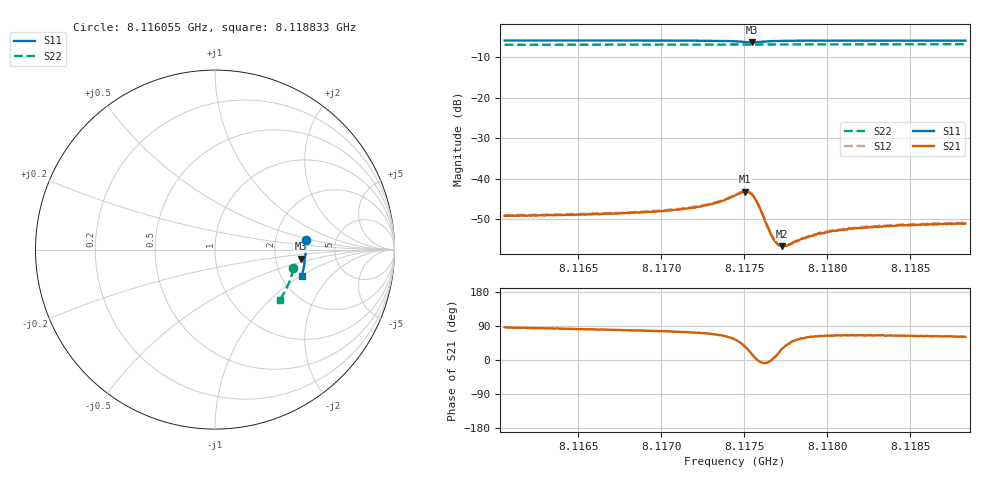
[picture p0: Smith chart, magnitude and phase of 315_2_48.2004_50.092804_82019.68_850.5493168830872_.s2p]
#  HZ  S  RI  R  50.00
! Rohde & Schwarz Vector Network Analyzer
! Rohde-Schwarz,ZNB20-2Port,1311601062101988,3.16
! Created: UTC 3/20/2024, 11:50:09 AM
! freq[Hz]  re:S11  im:S11  re:S21  im:S21  re:S12  im:S12  re:S22  im:S22
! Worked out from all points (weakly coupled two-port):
!   401 points, 8.116055 GHz to 8.118833 GHz, reference 50 ohm
!   highest |S21| = -43.18 dB at 8.117506 GHz (marker M1); lowest = -56.6 dB at 8.117729 GHz (marker M2)
!   lowest |S11| = -6.4 dB at 8.117548 GHz (marker M3), VSWR 2.85, Z = 140 - j18.6 ohm
!   |S11| at or under -10 dB: nowhere
!   |S22| runs from -7.0 to -6.8 dB; largest |S21 - S12| = 0.0002
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8.1160546e9  0.5043 0.0541  0.000218 0.00348  0.000327 0.00354  0.4361 -0.1052
8.11652e9  0.5063 0.0191  0.000527 0.00361  0.000611 0.00365  0.4288 -0.1364
8.1169855e9  0.5055 -0.0169  0.000962 0.00388  0.00102 0.00393  0.4189 -0.1674
8.1172356e9  0.5027 -0.0379  0.00146 0.00432  0.00152 0.0044  0.4126 -0.1838
8.1173398e9  0.5001 -0.0475  0.00205 0.00474  0.00212 0.0048  0.4099 -0.1907
8.117444e9  0.4924 -0.058  0.00366 0.00506  0.00377 0.00512  0.4065 -0.1974
8.1175065e9  0.4819 -0.0588  0.00571 0.00393  0.00583 0.00398  0.4045 -0.201
8.1175273e9  0.4786 -0.0557  0.00618 0.00284  0.00635 0.00282  0.4039 -0.2021
8.1175482e9  0.4779 -0.0512  0.00614 0.00152  0.00632 0.0015  0.4031 -0.2032
8.1175621e9  0.479 -0.0483  0.00578 0.000734  0.00588 0.000665  0.4028 -0.204
8.1175829e9  0.4823 -0.0454  0.00487 -0.00012  0.00495 -0.000163  0.4026 -0.2051
8.1176454e9  0.4929 -0.0478  0.00244 -0.000224  0.00248 -0.000236  0.4012 -0.209
8.1176732e9  0.4955 -0.0509  0.00185 0.000124  0.00193 9.2e-05  0.4006 -0.2109
8.117701e9  0.4971 -0.0542  0.00151 0.000418  0.00152 0.00042  0.3998 -0.2129
8.1177288e9  0.4982 -0.0573  0.00128 0.000752  0.0013 0.000716  0.3991 -0.2147
8.1177635e9  0.4987 -0.0613  0.00112 0.00103  0.00114 0.00105  0.3978 -0.2167
8.1178469e9  0.4991 -0.0695  0.000984 0.00154  0.00102 0.00152  0.3954 -0.2222
8.1179094e9  0.4986 -0.0751  0.000943 0.00173  0.000975 0.00181  0.3932 -0.226
8.1180206e9  0.4975 -0.0845  0.000982 0.00203  0.00096 0.00209  0.3896 -0.2329
8.1181387e9  0.4959 -0.0939  0.00101 0.00221  0.00106 0.00224  0.3856 -0.2402
8.1183749e9  0.4922 -0.1118  0.00112 0.00237  0.00118 0.00244  0.3771 -0.2545
8.1188334e9  0.483 -0.1452  0.00136 0.00247  0.00141 0.00252  0.3594 -0.2814
